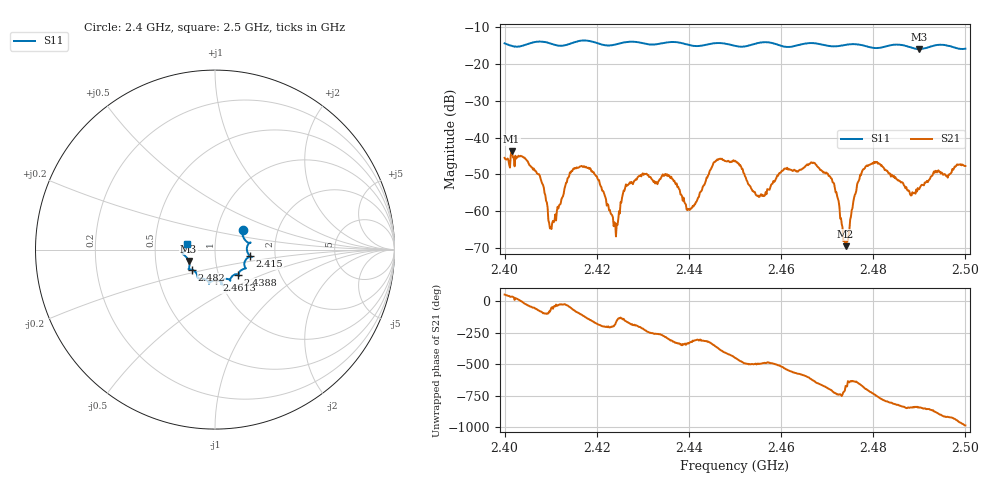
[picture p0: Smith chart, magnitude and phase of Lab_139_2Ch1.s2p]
# Hz S RI R 50
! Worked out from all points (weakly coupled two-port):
!   601 points, 2.4 GHz to 2.5 GHz, reference 50 ohm
!   highest |S21| = -43.79 dB at 2.4015 GHz (marker M1); lowest = -69.6 dB at 2.474 GHz (marker M2)
!   lowest |S11| = -15.9 dB at 2.49 GHz (marker M3), VSWR 1.38, Z = 36.9 - j4.81 ohm
!   |S11| at or under -10 dB: start of sweep to end of sweep
!   S12 and S22 are empty: the file has one direction only
!   S11 on the Smith chart (normalised r, x): 2.4 GHz: 1.33, +0.31; 2.415 GHz: 1.47, -0.11; 2.4388 GHz: 1.24, -0.36; 2.4613 GHz: 0.96, -0.34; 2.482 GHz: 0.76, -0.18; 2.5 GHz: 0.73, +0.05
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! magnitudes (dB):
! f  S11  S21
! 2.4 GHz  -14.4  -45.6
! 2.4015 GHz  -15.0  -43.8
! 2.4073 GHz  -13.9  -50.0
! 2.4102 GHz  -14.5  -64.9
! 2.415 GHz  -14.1  -48.4
! 2.4167 GHz  -13.6  -47.7
! 2.42 GHz  -14.3  -50.5
! 2.4242 GHz  -14.6  -66.9
! 2.4267 GHz  -14.0  -53.0
! 2.4333 GHz  -14.5  -52.0
! 2.4388 GHz  -14.4  -56.4
! 2.45 GHz  -15.0  -46.3
! 2.455 GHz  -14.3  -55.8
! 2.4613 GHz  -15.3  -48.2
! 2.4667 GHz  -14.3  -46.8
! 2.4712 GHz  -15.2  -52.1
! 2.474 GHz  -14.8  -69.6
! 2.4775 GHz  -14.8  -49.5
! 2.482 GHz  -15.4  -47.9
! 2.4833 GHz  -15.0  -49.8
! 2.49 GHz  -15.9  -54.0
! 2.5 GHz  -15.8  -47.8
